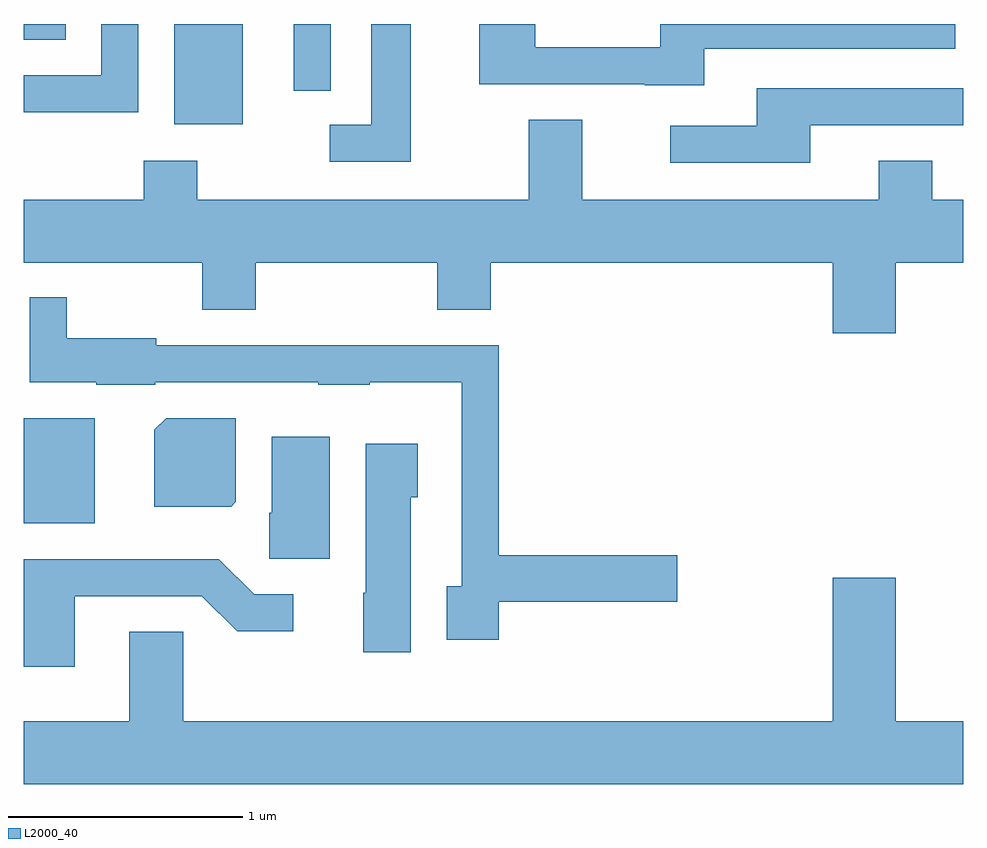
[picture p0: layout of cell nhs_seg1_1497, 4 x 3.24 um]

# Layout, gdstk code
import gdstk
lib = gdstk.Library(unit=1e-6, precision=1e-09)
def R(c, l, rs):  # rectangles x0, y0, x1, y1
    for r in rs: c.add(gdstk.rectangle(r[:2], r[2:], *l))
def P(c, l, *ps):  # polygons
    for p in ps: c.add(gdstk.Polygon(p, *l))
L2000_40 = (2000, 40)

nhs_seg1_1497 = lib.new_cell('nhs_seg1_1497')
R(nhs_seg1_1497, L2000_40, [(231.611,889.586,231.914,890.034), (232.251,891.286,232.544,891.712), (232.761,891.428,232.919,891.712), (231.611,891.646,231.789,891.712)])
P(nhs_seg1_1497, L2000_40, [(234.509,891.606),(235.578,891.606),(235.578,891.712),(234.321,891.712),(234.321,891.614),(233.789,891.614),(233.789,891.712),(233.551,891.712),(233.551,891.456),(234.255,891.456),(234.255,891.451),(234.509,891.451)],
  [(233.259,891.712),(233.091,891.712),(233.091,891.284),(232.913,891.284),(232.913,891.126),(233.259,891.126)],
  [(232.099,891.712),(231.941,891.712),(231.941,891.494),(231.611,891.494),(231.611,891.336),(232.099,891.336)],
  [(234.959,891.281),(235.611,891.281),(235.611,891.439),(234.731,891.439),(234.731,891.279),(234.363,891.279),(234.363,891.121),(234.959,891.121)],
  [(235.324,890.696),(235.611,890.696),(235.611,890.964),(235.479,890.964),(235.479,891.129),(235.251,891.129),(235.251,890.964),(233.989,890.964),(233.989,891.304),(233.761,891.304),(233.761,890.964),(232.349,890.964),(232.349,891.129),(232.121,891.129),(232.121,890.964),(231.611,890.964),(231.611,890.696),(232.371,890.696),(232.371,890.496),(232.599,890.496),(232.599,890.696),(233.371,890.696),(233.371,890.496),(233.599,890.496),(233.599,890.696),(235.056,890.696),(235.056,890.396),(235.324,890.396)],
  [(233.634,889.251),(234.394,889.251),(234.394,889.449),(233.634,889.449),(233.634,890.344),(232.174,890.344),(232.174,890.374),(231.794,890.374),(231.794,890.548),(231.636,890.548),(231.636,890.186),(231.92,890.186),(231.92,890.176),(232.17,890.176),(232.17,890.186),(232.865,890.186),(232.865,890.176),(233.085,890.176),(233.085,890.186),(233.476,890.186),(233.476,889.319),(233.411,889.319),(233.411,889.091),(233.634,889.091)],
  [(232.514,889.677),(232.514,890.034),(232.217,890.034),(232.166,889.984),(232.166,889.656),(232.494,889.656)],
  [(232.914,889.954),(232.666,889.954),(232.666,889.63),(232.656,889.63),(232.656,889.436),(232.914,889.436)],
  [(233.259,889.696),(233.289,889.696),(233.289,889.924),(233.066,889.924),(233.066,889.29),(233.056,889.29),(233.056,889.036),(233.259,889.036)],
  [(231.829,889.276),(232.369,889.276),(232.519,889.126),(232.758,889.126),(232.758,889.284),(232.592,889.284),(232.442,889.434),(231.611,889.434),(231.611,888.976),(231.829,888.976)],
  [(235.611,888.744),(235.324,888.744),(235.324,889.354),(235.056,889.354),(235.056,888.744),(232.289,888.744),(232.289,889.124),(232.061,889.124),(232.061,888.744),(231.611,888.744),(231.611,888.476),(235.611,888.476)])

lib.write_gds('nhs_seg1_1497.gds')
